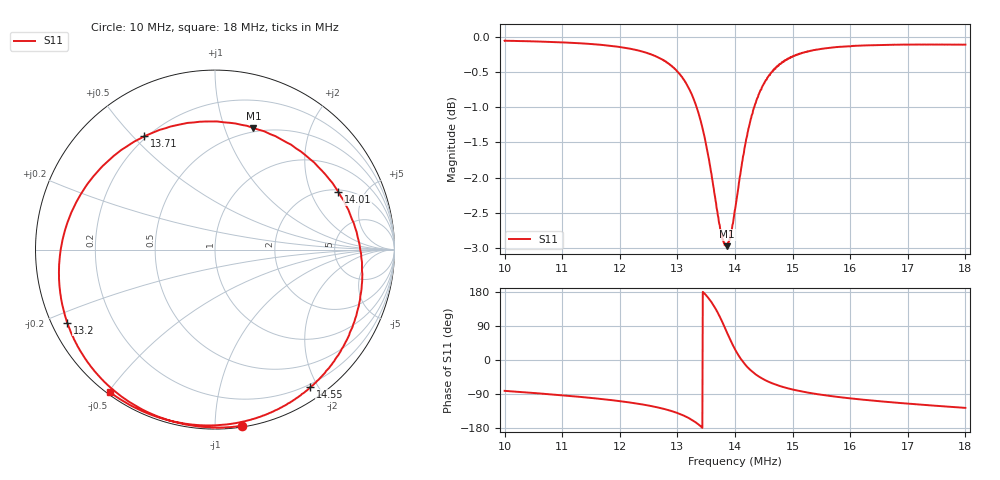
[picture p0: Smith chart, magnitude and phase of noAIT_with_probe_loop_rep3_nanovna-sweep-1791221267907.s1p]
! NanoVNA Web complex sweep
! Processing: unaveraged complex samples; linear segment spacing; no smoothing
# Hz S RI R 50
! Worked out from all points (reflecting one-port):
!   1010 points, 10 MHz to 18 MHz, reference 50 ohm
!   lowest |S11| = -3.0 dB at 13.86 MHz (marker M1), VSWR 5.90, Z = 23.1 + j62.9 ohm
!   phase of S11 starts at -81 deg and turns -405 deg over the sweep
!   S11 on the Smith chart (normalised r, x): 10 MHz: 0.01, -1.16; 13.2 MHz: 0.04, -0.23; 13.71 MHz: 0.19, +0.54; 14.01 MHz: 2.11, +3.20; 14.55 MHz: 0.16, -1.90; 18 MHz: 0.01, -0.51
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1e7  0.1483 -0.9822
1.100698e7  -0.0555 -0.989
1.200604e7  -0.3148 -0.9313
1.260864e7  -0.5348 -0.8081
1.282272e7  -0.6332 -0.7194
1.300509e7  -0.7253 -0.6043
1.320332e7  -0.8238 -0.4062
1.337775e7  -0.8695 -0.1298
1.350462e7  -0.8223 0.1502
1.36077e7  -0.678 0.4077
1.371077e7  -0.3941 0.6315
1.379006e7  -0.0859 0.7123
1.386142e7  0.2144 0.6769
1.394071e7  0.5032 0.5266
1.400414e7  0.6718 0.3445
1.401207e7  0.6874 0.3215
1.406758e7  0.7732 0.1473
1.412308e7  0.814 -0.0231
1.419444e7  0.8164 -0.2202
1.427373e7  0.7771 -0.3998
1.44006e7  0.6703 -0.6103
1.455125e7  0.5321 -0.7655
1.474947e7  0.3696 -0.8795
1.50032e7  0.2019 -0.9473
1.543929e7  -0.0064 -0.9793
1.600225e7  -0.1914 -0.9653
1.700131e7  -0.4192 -0.8935
1.800036e7  -0.5848 -0.795
